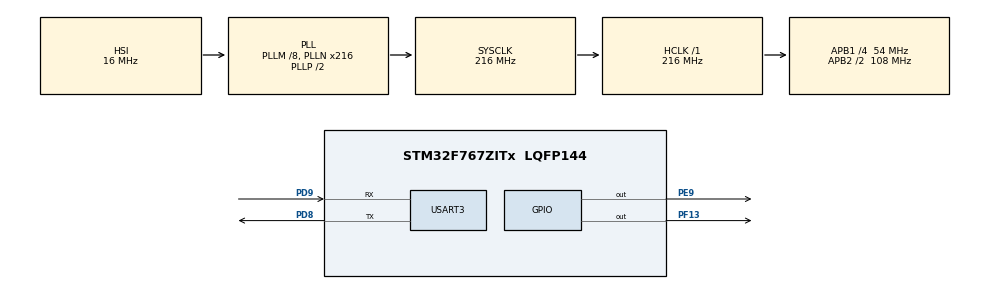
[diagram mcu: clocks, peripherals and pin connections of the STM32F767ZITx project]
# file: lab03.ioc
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Mcu.Family=STM32F7
Mcu.Name=STM32F767ZITx
Mcu.Package=LQFP144
NVIC.PriorityGroup=NVIC_PRIORITYGROUP_4
PD8.Mode=Asynchronous
PD8.Signal=USART3_TX
PD9.Mode=Asynchronous
PD9.Signal=USART3_RX
PE9.Signal=GPIO_Output
PF13.Signal=GPIO_Output
ProjectManager.HeapSize=0x200
ProjectManager.StackSize=0x400
ProjectManager.TargetToolchain=STM32CubeIDE
RCC.AHBFreq_Value=216000000
RCC.APB1CLKDivider=RCC_HCLK_DIV4
RCC.APB1Freq_Value=54000000
RCC.APB1TimFreq_Value=108000000
RCC.APB2CLKDivider=RCC_HCLK_DIV2
RCC.APB2Freq_Value=108000000
RCC.APB2TimFreq_Value=216000000
RCC.CortexFreq_Value=216000000
RCC.HCLKFreq_Value=216000000
RCC.HSE_VALUE=25000000
RCC.HSI_VALUE=16000000
RCC.LSE_VALUE=32768
RCC.PLLM=8
RCC.PLLN=216
RCC.SYSCLKFreq_VALUE=216000000
RCC.SYSCLKSource=RCC_SYSCLKSOURCE_PLLCLK
RCC.USBFreq_Value=216000000
RCC.VCOOutputFreq_Value=432000000
USART3.VirtualMode-Asynchronous=VM_ASYNC
board=custom

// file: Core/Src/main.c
/* USER CODE BEGIN Header */
/**
  ******************************************************************************
  * @file           : main.c
  * @brief          : Main program body
  ******************************************************************************
  * @attention
  *
  * Copyright (c) 2026 STMicroelectronics.
  * All rights reserved.
  *
  * This software is licensed under terms that can be found in the LICENSE file
  * in the root directory of this software component.
  * If no LICENSE file comes with this software, it is provided AS-IS.
  *
  ******************************************************************************
  */
/* USER CODE END Header */
#include "main.h"
#include "usart.h"
#include "gpio.h"

/* USER CODE BEGIN Includes */
#include "string.h"
/* USER CODE END Includes */

/* USER CODE BEGIN PV */
char ch1;
/* USER CODE END PV */

void SystemClock_Config(void);

int main(void)
{

  /* MCU Configuration--------------------------------------------------------*/

  /* Reset of all peripherals, Initializes the Flash interface and the Systick. */
  HAL_Init();

  /* Configure the system clock */
  SystemClock_Config();

  /* Initialize all configured peripherals */
  MX_GPIO_Init();
  MX_USART3_UART_Init();

  /* Infinite loop */
  while (1)
  {
	 	  char tmp[] = "Input => ";
	 	  HAL_UART_Transmit(&huart3,tmp, strlen(tmp), 1000);
	 	  while (__HAL_UART_GET_FLAG(&huart3,UART_FLAG_RXNE)==RESET)
	 	  {
	 		/* USER CODE END WHILE */

	 		/* USER CODE BEGIN 3 */
	 	  }
	 	  HAL_UART_Receive(&huart3,(uint8_t*)&ch1, 1, 1000);

	 	  if(ch1 == 'q'){
	 		  HAL_UART_Transmit(&huart3,&ch1, 1, 1000);
	 		  HAL_UART_Transmit(&huart3, "\n\rQuit", 6, 1000);
	 		  return 1;
	 	  }
	 	  else if (ch1 == '1'){
	 		  HAL_UART_Transmit(&huart3,"1\n\r", 3, 1000);
	 		  for(int i = 0 ; i < 3 ; i++){
	 			 HAL_GPIO_WritePin(GPIOE, GPIO_PIN_9, GPIO_PIN_SET);
	 			 HAL_Delay(300);
	 			 HAL_GPIO_WritePin(GPIOE, GPIO_PIN_9, GPIO_PIN_RESET);
	 			 HAL_Delay(300);
	 		  }
	 	  }
	 	 else if (ch1 == '2'){
	 		  HAL_UART_Transmit(&huart3,"2\n\r", 3, 1000);
			  for(int i = 0 ; i < 3 ; i++){
				 HAL_GPIO_WritePin(GPIOF, GPIO_PIN_13, GPIO_PIN_SET);
				 HAL_Delay(300);
				 HAL_GPIO_WritePin(GPIOF, GPIO_PIN_13, GPIO_PIN_RESET);
				 HAL_Delay(300);
			  }
		  }
	 	else if (ch1 == 'm'){
	 		char n1[] = "67011050\n\r";
	 		char a1[] = "Arnon Jantavara\n\r";
	 		char n2[] = "67011501\n\r";
	 		char a2[] = "Potsawee Poonsub\n\r";
	 		HAL_UART_Transmit(&huart3,"m\n\r", 3, 1000);
			HAL_UART_Transmit(&huart3,(uint8_t*)n1, strlen(n1), 1000);
			HAL_UART_Transmit(&huart3,(uint8_t*)a1, strlen(a1), 1000);
			HAL_UART_Transmit(&huart3,(uint8_t*)n2, strlen(n2), 1000);
			HAL_UART_Transmit(&huart3,(uint8_t*)a2, strlen(a2), 1000);
	 	}
	 	  else{
	 		  HAL_UART_Transmit(&huart3,&ch1, 1, 1000);
	 		  HAL_UART_Transmit(&huart3,"\n\r", 2, 1000);
	 		  HAL_UART_Transmit(&huart3,"Unknown Command", 15, 1000);
	 		  HAL_UART_Transmit(&huart3,"\n\r", 2, 1000);
	 	  }

	 	  HAL_Delay(500);
	 	  /* USER CODE END 3 */

  }
}

void SystemClock_Config(void)
{
  RCC_OscInitTypeDef RCC_OscInitStruct = {0};
  RCC_ClkInitTypeDef RCC_ClkInitStruct = {0};

  /** Configure the main internal regulator output voltage
  */
  __HAL_RCC_PWR_CLK_ENABLE();
  __HAL_PWR_VOLTAGESCALING_CONFIG(PWR_REGULATOR_VOLTAGE_SCALE1);

  /** Initializes the RCC Oscillators according to the specified parameters
  * in the RCC_OscInitTypeDef structure.
  */
  RCC_OscInitStruct.OscillatorType = RCC_OSCILLATORTYPE_HSI;
  RCC_OscInitStruct.HSIState = RCC_HSI_ON;
  RCC_OscInitStruct.HSICalibrationValue = RCC_HSICALIBRATION_DEFAULT;
  RCC_OscInitStruct.PLL.PLLState = RCC_PLL_ON;
  RCC_OscInitStruct.PLL.PLLSource = RCC_PLLSOURCE_HSI;
  RCC_OscInitStruct.PLL.PLLM = 8;
  RCC_OscInitStruct.PLL.PLLN = 216;
  RCC_OscInitStruct.PLL.PLLP = RCC_PLLP_DIV2;
  RCC_OscInitStruct.PLL.PLLQ = 2;
  RCC_OscInitStruct.PLL.PLLR = 2;
  if (HAL_RCC_OscConfig(&RCC_OscInitStruct) != HAL_OK)
  {
    Error_Handler();
  }

  /** Activate the Over-Drive mode
  */
  if (HAL_PWREx_EnableOverDrive() != HAL_OK)
  {
    Error_Handler();
  }

  /** Initializes the CPU, AHB and APB buses clocks
  */
  RCC_ClkInitStruct.ClockType = RCC_CLOCKTYPE_HCLK|RCC_CLOCKTYPE_SYSCLK
                              |RCC_CLOCKTYPE_PCLK1|RCC_CLOCKTYPE_PCLK2;
  RCC_ClkInitStruct.SYSCLKSource = RCC_SYSCLKSOURCE_PLLCLK;
  RCC_ClkInitStruct.AHBCLKDivider = RCC_SYSCLK_DIV1;
  RCC_ClkInitStruct.APB1CLKDivider = RCC_HCLK_DIV4;
  RCC_ClkInitStruct.APB2CLKDivider = RCC_HCLK_DIV2;

  if (HAL_RCC_ClockConfig(&RCC_ClkInitStruct, FLASH_LATENCY_7) != HAL_OK)
  {
    Error_Handler();
  }
}

void Error_Handler(void)
{
  __disable_irq();
  while (1)
  {
  }
}
